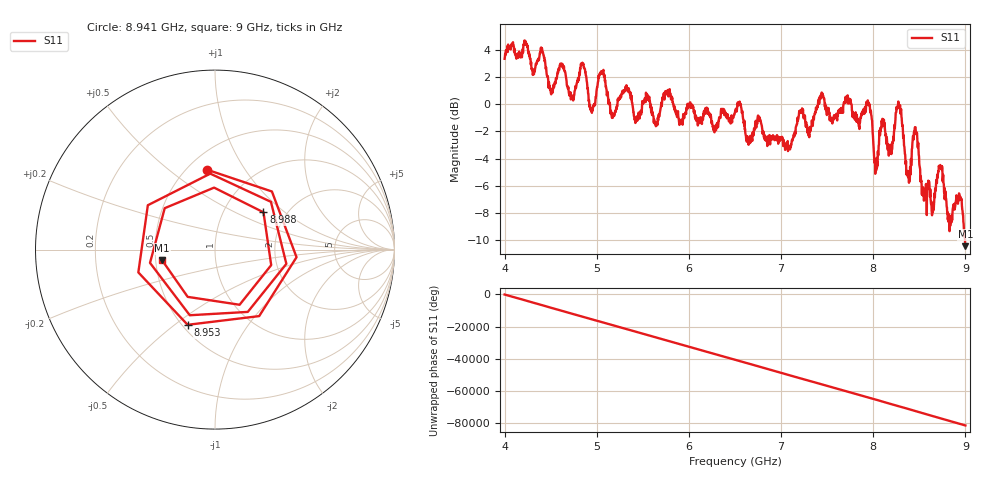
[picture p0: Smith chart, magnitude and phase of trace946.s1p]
! Created with skrf 1.8.0 (http://scikit-rf.org).
# Hz S RI R 50.0
!freq ReS11 ImS11
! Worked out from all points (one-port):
!   1601 points, 4 GHz to 9 GHz, reference 50 ohm
!   lowest |S11| = -10.4 dB at 9 GHz (marker M1), VSWR 1.86, Z = 27.1 - j3.57 ohm
!   |S11| at or under -10 dB: 8.995841 GHz to end of sweep
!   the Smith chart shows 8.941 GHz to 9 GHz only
!   S11 on the Smith chart (normalised r, x): 8.941 GHz: 0.62, +0.69; 8.953 GHz: 0.53, -0.56; 8.988 GHz: 1.53, +0.72; 9 GHz: 0.54, -0.07
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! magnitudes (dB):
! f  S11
! 4 GHz  3.4
! 4.406 GHz  4.1
! 4.509 GHz  0.8
! 4.625 GHz  2.9
! 4.728 GHz  0.6
! 4.853 GHz  2.9
! 4.944 GHz  -0.5
! 5.05 GHz  2.4
! 5.172 GHz  -0.7
! 5.25 GHz  0.4
! 5.875 GHz  -0.8
! 6.5 GHz  -0.5
! 7.125 GHz  -2.7
! 7.444 GHz  0.6
! 7.75 GHz  0.3
! 7.95 GHz  0.1
! 8.031 GHz  -4.9
! 8.278 GHz  -0.1
! 8.375 GHz  -5.3
! 8.453 GHz  -1.7
! 8.556 GHz  -6.9
! 8.647 GHz  -7.9
! 8.725 GHz  -4.6
! 8.828 GHz  -9.3
! 8.941 GHz  -7.0
! 8.953 GHz  -7.0
! 8.988 GHz  -9.3
! 9 GHz  -10.4
